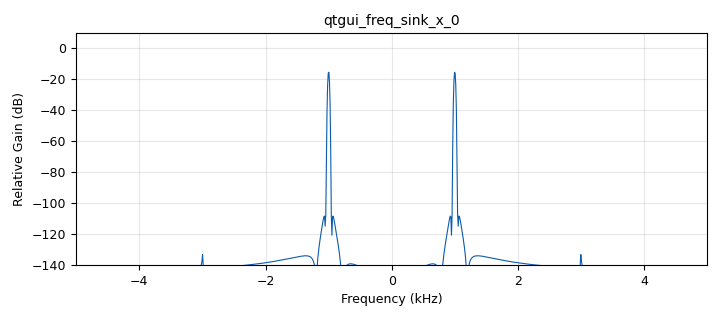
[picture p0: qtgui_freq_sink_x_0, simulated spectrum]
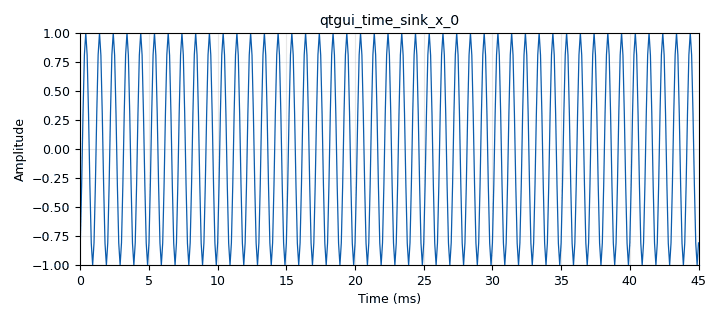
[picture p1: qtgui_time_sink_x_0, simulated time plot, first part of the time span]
options:
  parameters:
    generate_options: qt_gui
    id: tut_2
    output_language: python
  states: {}

blocks:
- name: freq
  id: variable
  parameters:
    value: 2e3
  states: {}
- name: samp_rate
  id: variable_qtgui_range
  parameters:
    orient: Qt.Horizontal
    start: 0.5*freq
    step: '200'
    stop: 20*freq
    value: 5*freq
  states: {}
- name: analog_sig_source_x_0
  id: analog_sig_source_x
  parameters:
    amp: '1'
    freq: '1000'
    offset: '0'
    phase: '0'
    samp_rate: samp_rate
    type: float
    waveform: analog.GR_COS_WAVE
  states: {}
- name: blocks_throttle_0
  id: blocks_throttle
  parameters:
    samples_per_second: 32e3
    type: float
  states: {}
- name: qtgui_freq_sink_x_0
  id: qtgui_freq_sink_x
  parameters:
    bw: samp_rate
    fc: '0'
    fftsize: '1024'
    showports: 'True'
    type: float
    wintype: firdes.WIN_BLACKMAN_hARRIS
  states: {}
- name: qtgui_tab_widget_0
  id: qtgui_tab_widget
  parameters:
    label0: Time
    label1: Frequency
    num_tabs: '2'
  states: {}
- name: qtgui_time_sink_x_0
  id: qtgui_time_sink_x
  parameters:
    label1: ''
    size: '1024'
    srate: samp_rate
    type: float
  states: {}

connections:
- [analog_sig_source_x_0, '0', blocks_throttle_0, '0']
- [blocks_throttle_0, '0', qtgui_freq_sink_x_0, '0']
- [blocks_throttle_0, '0', qtgui_time_sink_x_0, '0']

metadata:
  file_format: 1
